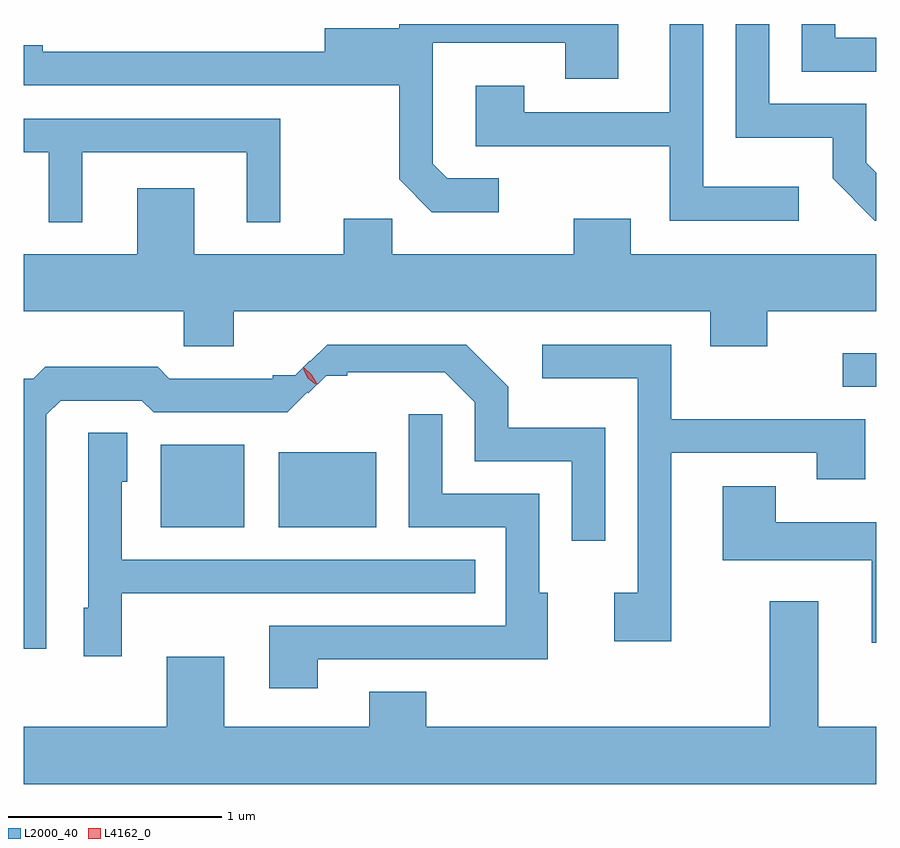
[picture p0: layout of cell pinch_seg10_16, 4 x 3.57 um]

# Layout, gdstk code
import gdstk
lib = gdstk.Library(unit=1e-6, precision=1e-09)
def R(c, l, rs):  # rectangles x0, y0, x1, y1
    for r in rs: c.add(gdstk.rectangle(r[:2], r[2:], *l))
def P(c, l, *ps):  # polygons
    for p in ps: c.add(gdstk.Polygon(p, *l))
L2000_40 = (2000, 40)
L4162_0 = (4162, 0)

pinch_seg10_16 = lib.new_cell('pinch_seg10_16')
R(pinch_seg10_16, L2000_40, [(827.941,2166.181,828.334,2166.569), (828.496,2166.181,828.954,2166.534), (831.143,2166.841,831.3,2166.999)])
P(pinch_seg10_16, L2000_40, [(830.938,2167.779),(830.489,2167.779),(830.489,2168.544),(830.331,2168.544),(830.331,2168.129),(829.649,2168.129),(829.649,2168.254),(829.421,2168.254),(829.421,2167.971),(830.331,2167.971),(830.331,2167.621),(830.938,2167.621)],
  [(831.3,2168.479),(831.109,2168.479),(831.109,2168.544),(830.951,2168.544),(830.951,2168.321),(831.3,2168.321)],
  [(829.528,2167.819),(829.287,2167.819),(829.219,2167.887),(829.219,2168.456),(829.841,2168.456),(829.841,2168.286),(830.089,2168.286),(830.089,2168.544),(829.061,2168.544),(829.061,2168.524),(828.711,2168.524),(828.711,2168.414),(827.389,2168.414),(827.389,2168.444),(827.3,2168.444),(827.3,2168.256),(829.061,2168.256),(829.061,2167.814),(829.214,2167.661),(829.528,2167.661)],
  [(831.3,2167.846),(831.254,2167.892),(831.254,2168.169),(830.799,2168.169),(830.799,2168.543),(830.641,2168.543),(830.641,2168.011),(831.096,2168.011),(831.096,2167.819),(831.294,2167.621),(831.3,2167.621)],
  [(827.574,2167.941),(828.346,2167.941),(828.346,2167.613),(828.504,2167.613),(828.504,2168.099),(827.3,2168.099),(827.3,2167.941),(827.416,2167.941),(827.416,2167.613),(827.574,2167.613)],
  [(828.284,2167.196),(830.521,2167.196),(830.521,2167.031),(830.789,2167.031),(830.789,2167.196),(831.3,2167.196),(831.3,2167.464),(830.149,2167.464),(830.149,2167.629),(829.881,2167.629),(829.881,2167.464),(829.029,2167.464),(829.029,2167.629),(828.801,2167.629),(828.801,2167.464),(828.099,2167.464),(828.099,2167.774),(827.831,2167.774),(827.831,2167.464),(827.3,2167.464),(827.3,2167.196),(828.051,2167.196),(828.051,2167.031),(828.284,2167.031)],
  [(830.339,2166.531),(831.021,2166.531),(831.021,2166.406),(831.249,2166.406),(831.249,2166.689),(830.339,2166.689),(830.339,2167.039),(829.733,2167.039),(829.733,2166.881),(830.181,2166.881),(830.181,2165.874),(830.071,2165.874),(830.071,2165.646),(830.339,2165.646)],
  [(827.404,2166.709),(827.472,2166.776),(827.854,2166.776),(827.909,2166.721),(828.536,2166.721),(828.629,2166.815),(828.635,2166.81),(828.718,2166.893),(828.817,2166.893),(828.817,2166.909),(829.276,2166.909),(829.416,2166.769),(829.416,2166.491),(829.871,2166.491),(829.871,2166.118),(830.029,2166.118),(830.029,2166.649),(829.574,2166.649),(829.574,2166.842),(829.377,2167.039),(828.723,2167.039),(828.644,2166.96),(828.641,2166.963),(828.574,2166.895),(828.469,2166.895),(828.469,2166.879),(827.982,2166.879),(827.927,2166.934),(827.399,2166.934),(827.344,2166.879),(827.3,2166.879),(827.3,2165.611),(827.404,2165.611)],
  [(828.679,2165.561),(829.759,2165.561),(829.759,2165.874),(829.719,2165.874),(829.719,2166.339),(829.264,2166.339),(829.264,2166.713),(829.106,2166.713),(829.106,2166.181),(829.561,2166.181),(829.561,2165.719),(828.451,2165.719),(828.451,2165.426),(828.679,2165.426)],
  [(827.759,2165.871),(829.418,2165.871),(829.418,2166.029),(827.759,2166.029),(827.759,2166.396),(827.784,2166.396),(827.784,2166.624),(827.601,2166.624),(827.601,2165.804),(827.581,2165.804),(827.581,2165.576),(827.759,2165.576)],
  [(831.3,2166.204),(830.829,2166.204),(830.829,2166.374),(830.581,2166.374),(830.581,2166.026),(831.281,2166.026),(831.281,2165.638),(831.3,2165.638)],
  [(831.3,2165.244),(831.029,2165.244),(831.029,2165.834),(830.801,2165.834),(830.801,2165.244),(829.189,2165.244),(829.189,2165.409),(828.921,2165.409),(828.921,2165.244),(828.239,2165.244),(828.239,2165.574),(827.971,2165.574),(827.971,2165.244),(827.3,2165.244),(827.3,2164.976),(831.3,2164.976)])
P(pinch_seg10_16, L4162_0, [(828.667,2166.853),(828.632,2166.882),(828.612,2166.924),(828.612,2166.924),(828.613,2166.924),(828.648,2166.895),(828.668,2166.854),(828.668,2166.853)],
  [(828.675,2166.852),(828.636,2166.885),(828.612,2166.931),(828.612,2166.932),(828.613,2166.932),(828.652,2166.898),(828.676,2166.853),(828.676,2166.852)])

lib.write_gds('pinch_seg10_16.gds')
